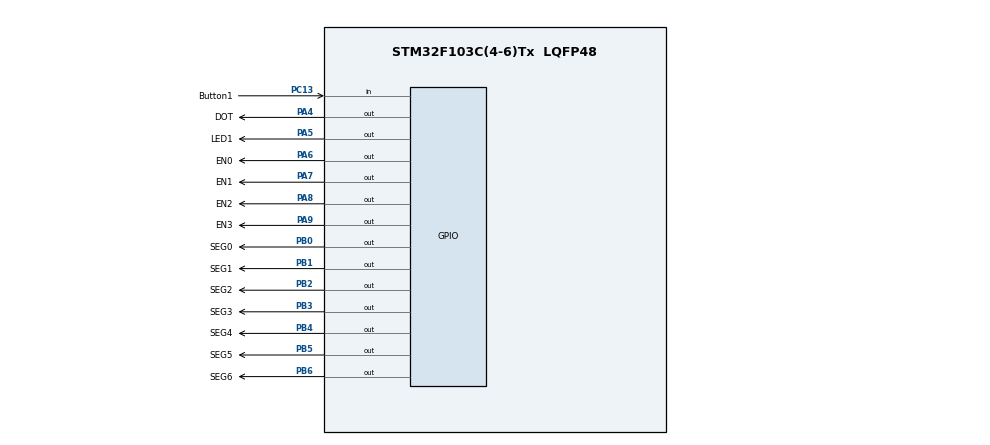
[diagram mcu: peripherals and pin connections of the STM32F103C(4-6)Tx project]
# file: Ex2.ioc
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Mcu.Family=STM32F1
Mcu.Name=STM32F103C(4-6)Tx
Mcu.Package=LQFP48
NVIC.PriorityGroup=NVIC_PRIORITYGROUP_4
NVIC.TIM2_IRQn=true\:0\:0\:false\:false\:true\:true\:true\:true
PA4.GPIO_Label=DOT
PA4.Signal=GPIO_Output
PA5.GPIO_Label=LED1
PA5.Signal=GPIO_Output
PA6.GPIO_Label=EN0
PA6.Signal=GPIO_Output
PA7.GPIO_Label=EN1
PA7.Signal=GPIO_Output
PA8.GPIO_Label=EN2
PA8.Signal=GPIO_Output
PA9.GPIO_Label=EN3
PA9.Signal=GPIO_Output
PB0.GPIO_Label=SEG0
PB0.Signal=GPIO_Output
PB1.GPIO_Label=SEG1
PB1.Signal=GPIO_Output
PB2.GPIO_Label=SEG2
PB2.Signal=GPIO_Output
PB3.GPIO_Label=SEG3
PB3.Signal=GPIO_Output
PB4.GPIO_Label=SEG4
PB4.Signal=GPIO_Output
PB5.GPIO_Label=SEG5
PB5.Signal=GPIO_Output
PB6.GPIO_Label=SEG6
PB6.Signal=GPIO_Output
PC13-TAMPER-RTC.GPIO_Label=Button1
PC13-TAMPER-RTC.GPIO_PuPd=GPIO_PULLUP
PC13-TAMPER-RTC.Signal=GPIO_Input
ProjectManager.HeapSize=0x200
ProjectManager.StackSize=0x400
ProjectManager.TargetToolchain=STM32CubeIDE
RCC.APB1Freq_Value=8000000
RCC.APB2Freq_Value=8000000
TIM2.Period=9
TIM2.Prescaler=7999
VP_TIM2_VS_ClockSourceINT.Mode=Internal
board=custom

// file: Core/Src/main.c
/* USER CODE BEGIN Header */
/**
  ******************************************************************************
  * @file           : main.c
  * @brief          : Main program body
  ******************************************************************************
  * @attention
  *
  * Copyright (c) 2022 STMicroelectronics.
  * All rights reserved.
  *
  * This software is licensed under terms that can be found in the LICENSE file
  * in the root directory of this software component.
  * If no LICENSE file comes with this software, it is provided AS-IS.
  *
  ******************************************************************************
  */
/* USER CODE END Header */
#include "main.h"

/* USER CODE BEGIN Includes */
#include "Software_Timer.h"

/* USER CODE END Includes */

TIM_HandleTypeDef htim2;

void SystemClock_Config(void);
static void MX_GPIO_Init(void);
static void MX_TIM2_Init(void);

/* USER CODE BEGIN 0 */
void display7SEG(int num){

	switch(num) {
	  case 0:
	    	HAL_GPIO_WritePin(SEG0_GPIO_Port, SEG0_Pin, RESET);
	    	HAL_GPIO_WritePin(SEG1_GPIO_Port, SEG1_Pin, RESET);
	    	HAL_GPIO_WritePin(SEG2_GPIO_Port, SEG2_Pin, RESET);
	    	HAL_GPIO_WritePin(SEG3_GPIO_Port, SEG3_Pin, RESET);
	    	HAL_GPIO_WritePin(SEG4_GPIO_Port, SEG4_Pin, RESET);
	    	HAL_GPIO_WritePin(SEG5_GPIO_Port, SEG5_Pin, RESET);
	    	HAL_GPIO_WritePin(SEG6_GPIO_Port, SEG6_Pin, SET);
		  	break;
	  case 1:
		    HAL_GPIO_WritePin(SEG0_GPIO_Port, SEG0_Pin, SET);
	    	HAL_GPIO_WritePin(SEG1_GPIO_Port, SEG1_Pin, RESET);
		   	HAL_GPIO_WritePin(SEG2_GPIO_Port, SEG2_Pin, RESET);
		  	HAL_GPIO_WritePin(SEG3_GPIO_Port, SEG3_Pin, SET);
		  	HAL_GPIO_WritePin(SEG4_GPIO_Port, SEG4_Pin, SET);
		   	HAL_GPIO_WritePin(SEG5_GPIO_Port, SEG5_Pin, SET);
		   	HAL_GPIO_WritePin(SEG6_GPIO_Port, SEG6_Pin, SET);
		  	break;
	  case 2:
		    HAL_GPIO_WritePin(SEG0_GPIO_Port, SEG0_Pin, RESET);
		    HAL_GPIO_WritePin(SEG1_GPIO_Port, SEG1_Pin, RESET);
		    HAL_GPIO_WritePin(SEG2_GPIO_Port, SEG2_Pin, SET);
		    HAL_GPIO_WritePin(SEG3_GPIO_Port, SEG3_Pin, RESET);
		    HAL_GPIO_WritePin(SEG4_GPIO_Port, SEG4_Pin, RESET);
		    HAL_GPIO_WritePin(SEG5_GPIO_Port, SEG5_Pin, SET);
		    HAL_GPIO_WritePin(SEG6_GPIO_Port, SEG6_Pin, RESET);
		   	break;
	  case 3:
		  	HAL_GPIO_WritePin(SEG0_GPIO_Port, SEG0_Pin, RESET);
		    HAL_GPIO_WritePin(SEG1_GPIO_Port, SEG1_Pin, RESET);
		    HAL_GPIO_WritePin(SEG2_GPIO_Port, SEG2_Pin, RESET);
		    HAL_GPIO_WritePin(SEG3_GPIO_Port, SEG3_Pin, RESET);
		    HAL_GPIO_WritePin(SEG4_GPIO_Port, SEG4_Pin, SET);
		    HAL_GPIO_WritePin(SEG5_GPIO_Port, SEG5_Pin, SET);
		  	HAL_GPIO_WritePin(SEG6_GPIO_Port, SEG6_Pin, RESET);
		  	break;
	  case 4:
		  	HAL_GPIO_WritePin(SEG0_GPIO_Port, SEG0_Pin, SET);
		    HAL_GPIO_WritePin(SEG1_GPIO_Port, SEG1_Pin, RESET);
		    HAL_GPIO_WritePin(SEG2_GPIO_Port, SEG2_Pin, RESET);
		    HAL_GPIO_WritePin(SEG3_GPIO_Port, SEG3_Pin, SET);
		    HAL_GPIO_WritePin(SEG4_GPIO_Port, SEG4_Pin, SET);
		    HAL_GPIO_WritePin(SEG5_GPIO_Port, SEG5_Pin, RESET);
		    HAL_GPIO_WritePin(SEG6_GPIO_Port, SEG6_Pin, RESET);
		    break;
	  case 5:
		    HAL_GPIO_WritePin(SEG0_GPIO_Port, SEG0_Pin, RESET);
		    HAL_GPIO_WritePin(SEG1_GPIO_Port, SEG1_Pin, SET);
		    HAL_GPIO_WritePin(SEG2_GPIO_Port, SEG2_Pin, RESET);
		    HAL_GPIO_WritePin(SEG3_GPIO_Port, SEG3_Pin, RESET);
		    HAL_GPIO_WritePin(SEG4_GPIO_Port, SEG4_Pin, SET);
		    HAL_GPIO_WritePin(SEG5_GPIO_Port, SEG5_Pin, RESET);
		    HAL_GPIO_WritePin(SEG6_GPIO_Port, SEG6_Pin, RESET);
	  	    break;
	  case 6:
		  	HAL_GPIO_WritePin(SEG0_GPIO_Port, SEG0_Pin, RESET);
		    HAL_GPIO_WritePin(SEG1_GPIO_Port, SEG1_Pin, SET);
		    HAL_GPIO_WritePin(SEG2_GPIO_Port, SEG2_Pin, RESET);
		    HAL_GPIO_WritePin(SEG3_GPIO_Port, SEG3_Pin, RESET);
		    HAL_GPIO_WritePin(SEG4_GPIO_Port, SEG4_Pin, RESET);
		    HAL_GPIO_WritePin(SEG5_GPIO_Port, SEG5_Pin, RESET);
		    HAL_GPIO_WritePin(SEG6_GPIO_Port, SEG6_Pin, RESET);
		    break;
	  case 7:
	  		HAL_GPIO_WritePin(SEG0_GPIO_Port, SEG0_Pin, RESET);
	  		HAL_GPIO_WritePin(SEG1_GPIO_Port, SEG1_Pin, RESET);
	  	    HAL_GPIO_WritePin(SEG2_GPIO_Port, SEG2_Pin, RESET);
	  	    HAL_GPIO_WritePin(SEG3_GPIO_Port, SEG3_Pin, SET);
		    HAL_GPIO_WritePin(SEG4_GPIO_Port, SEG4_Pin, SET);
 		    HAL_GPIO_WritePin(SEG5_GPIO_Port, SEG5_Pin, SET);
		    HAL_GPIO_WritePin(SEG6_GPIO_Port, SEG6_Pin, SET);
	  		break;
	  case 8:
	    	HAL_GPIO_WritePin(SEG0_GPIO_Port, SEG0_Pin, RESET);
		    HAL_GPIO_WritePin(SEG1_GPIO_Port, SEG1_Pin, RESET);
		    HAL_GPIO_WritePin(SEG2_GPIO_Port, SEG2_Pin, RESET);
		    HAL_GPIO_WritePin(SEG3_GPIO_Port, SEG3_Pin, RESET);
	        HAL_GPIO_WritePin(SEG4_GPIO_Port, SEG4_Pin, RESET);
	  	    HAL_GPIO_WritePin(SEG5_GPIO_Port, SEG5_Pin, RESET);
		    HAL_GPIO_WritePin(SEG6_GPIO_Port, SEG6_Pin, RESET);
		    break;
	  case 9:
	  		HAL_GPIO_WritePin(SEG0_GPIO_Port, SEG0_Pin, RESET);
	  		HAL_GPIO_WritePin(SEG1_GPIO_Port, SEG1_Pin, RESET);
	  		HAL_GPIO_WritePin(SEG2_GPIO_Port, SEG2_Pin, RESET);
	  	    HAL_GPIO_WritePin(SEG3_GPIO_Port, SEG3_Pin, RESET);
	  	    HAL_GPIO_WritePin(SEG4_GPIO_Port, SEG4_Pin, SET);
		    HAL_GPIO_WritePin(SEG5_GPIO_Port, SEG5_Pin, RESET);
	  		HAL_GPIO_WritePin(SEG6_GPIO_Port, SEG6_Pin, RESET);
	  	    break;
	  default:
		  	break;
	}

}
/* USER CODE END 0 */

int main(void)
{

  /* MCU Configuration--------------------------------------------------------*/

  /* Reset of all peripherals, Initializes the Flash interface and the Systick. */
  HAL_Init();

  /* Configure the system clock */
  SystemClock_Config();

  /* Initialize all configured peripherals */
  MX_GPIO_Init();
  MX_TIM2_Init();
  /* USER CODE BEGIN 2 */
  HAL_TIM_Base_Start_IT(&htim2);

  HAL_GPIO_WritePin(EN0_GPIO_Port, EN0_Pin, SET);
  HAL_GPIO_WritePin(EN1_GPIO_Port, EN1_Pin, SET);
  HAL_GPIO_WritePin(EN2_GPIO_Port, EN2_Pin, SET);
  HAL_GPIO_WritePin(EN3_GPIO_Port, EN3_Pin, SET);
  HAL_GPIO_WritePin(DOT_GPIO_Port, DOT_Pin, SET);

  /* USER CODE END 2 */

  /* Infinite loop */
  while (1)
  {

  }
}

void SystemClock_Config(void)
{
  RCC_OscInitTypeDef RCC_OscInitStruct = {0};
  RCC_ClkInitTypeDef RCC_ClkInitStruct = {0};

  /** Initializes the RCC Oscillators according to the specified parameters
  * in the RCC_OscInitTypeDef structure.
  */
  RCC_OscInitStruct.OscillatorType = RCC_OSCILLATORTYPE_HSI;
  RCC_OscInitStruct.HSIState = RCC_HSI_ON;
  RCC_OscInitStruct.HSICalibrationValue = RCC_HSICALIBRATION_DEFAULT;
  RCC_OscInitStruct.PLL.PLLState = RCC_PLL_NONE;
  if (HAL_RCC_OscConfig(&RCC_OscInitStruct) != HAL_OK)
  {
    Error_Handler();
  }

  /** Initializes the CPU, AHB and APB buses clocks
  */
  RCC_ClkInitStruct.ClockType = RCC_CLOCKTYPE_HCLK|RCC_CLOCKTYPE_SYSCLK
                              |RCC_CLOCKTYPE_PCLK1|RCC_CLOCKTYPE_PCLK2;
  RCC_ClkInitStruct.SYSCLKSource = RCC_SYSCLKSOURCE_HSI;
  RCC_ClkInitStruct.AHBCLKDivider = RCC_SYSCLK_DIV1;
  RCC_ClkInitStruct.APB1CLKDivider = RCC_HCLK_DIV1;
  RCC_ClkInitStruct.APB2CLKDivider = RCC_HCLK_DIV1;

  if (HAL_RCC_ClockConfig(&RCC_ClkInitStruct, FLASH_LATENCY_0) != HAL_OK)
  {
    Error_Handler();
  }
}

static void MX_TIM2_Init(void)
{

  TIM_ClockConfigTypeDef sClockSourceConfig = {0};
  TIM_MasterConfigTypeDef sMasterConfig = {0};

  htim2.Instance = TIM2;
  htim2.Init.Prescaler = 7999;
  htim2.Init.CounterMode = TIM_COUNTERMODE_UP;
  htim2.Init.Period = 9;
  htim2.Init.ClockDivision = TIM_CLOCKDIVISION_DIV1;
  htim2.Init.AutoReloadPreload = TIM_AUTORELOAD_PRELOAD_DISABLE;
  if (HAL_TIM_Base_Init(&htim2) != HAL_OK)
  {
    Error_Handler();
  }
  sClockSourceConfig.ClockSource = TIM_CLOCKSOURCE_INTERNAL;
  if (HAL_TIM_ConfigClockSource(&htim2, &sClockSourceConfig) != HAL_OK)
  {
    Error_Handler();
  }
  sMasterConfig.MasterOutputTrigger = TIM_TRGO_RESET;
  sMasterConfig.MasterSlaveMode = TIM_MASTERSLAVEMODE_DISABLE;
  if (HAL_TIMEx_MasterConfigSynchronization(&htim2, &sMasterConfig) != HAL_OK)
  {
    Error_Handler();
  }

}

static void MX_GPIO_Init(void)
{
  GPIO_InitTypeDef GPIO_InitStruct = {0};

  /* GPIO Ports Clock Enable */
  __HAL_RCC_GPIOC_CLK_ENABLE();
  __HAL_RCC_GPIOA_CLK_ENABLE();
  __HAL_RCC_GPIOB_CLK_ENABLE();

  /*Configure GPIO pin Output Level */
  HAL_GPIO_WritePin(GPIOA, DOT_Pin|LED1_Pin|EN0_Pin|EN1_Pin
                          |EN2_Pin|EN3_Pin, GPIO_PIN_RESET);

  /*Configure GPIO pin Output Level */
  HAL_GPIO_WritePin(GPIOB, SEG0_Pin|SEG1_Pin|SEG2_Pin|SEG3_Pin
                          |SEG4_Pin|SEG5_Pin|SEG6_Pin, GPIO_PIN_RESET);

  /*Configure GPIO pin : Button1_Pin */
  GPIO_InitStruct.Pin = Button1_Pin;
  GPIO_InitStruct.Mode = GPIO_MODE_INPUT;
  GPIO_InitStruct.Pull = GPIO_PULLUP;
  HAL_GPIO_Init(Button1_GPIO_Port, &GPIO_InitStruct);

  /*Configure GPIO pins : DOT_Pin LED1_Pin EN0_Pin EN1_Pin
                           EN2_Pin EN3_Pin */
  GPIO_InitStruct.Pin = DOT_Pin|LED1_Pin|EN0_Pin|EN1_Pin
                          |EN2_Pin|EN3_Pin;
  GPIO_InitStruct.Mode = GPIO_MODE_OUTPUT_PP;
  GPIO_InitStruct.Pull = GPIO_NOPULL;
  GPIO_InitStruct.Speed = GPIO_SPEED_FREQ_LOW;
  HAL_GPIO_Init(GPIOA, &GPIO_InitStruct);

  /*Configure GPIO pins : SEG0_Pin SEG1_Pin SEG2_Pin SEG3_Pin
                           SEG4_Pin SEG5_Pin SEG6_Pin */
  GPIO_InitStruct.Pin = SEG0_Pin|SEG1_Pin|SEG2_Pin|SEG3_Pin
                          |SEG4_Pin|SEG5_Pin|SEG6_Pin;
  GPIO_InitStruct.Mode = GPIO_MODE_OUTPUT_PP;
  GPIO_InitStruct.Pull = GPIO_NOPULL;
  GPIO_InitStruct.Speed = GPIO_SPEED_FREQ_LOW;
  HAL_GPIO_Init(GPIOB, &GPIO_InitStruct);

}

/* USER CODE BEGIN 4 */
int counter = 50;		//thiet lap he so
int state = 1;

void HAL_TIM_PeriodElapsedCallback(TIM_HandleTypeDef *htim){

	if (counter ==  1){
			//BEGIN-TODO

		if (state == 1){
				HAL_GPIO_WritePin(EN1_GPIO_Port, EN1_Pin, SET);
				HAL_GPIO_WritePin(EN2_GPIO_Port, EN2_Pin, SET);
				HAL_GPIO_WritePin(EN3_GPIO_Port, EN3_Pin, SET);

				display7SEG(1);
				HAL_GPIO_WritePin(EN0_GPIO_Port, EN0_Pin, RESET);

				state = 2;
		}
		else if (state == 2){
				HAL_GPIO_WritePin(EN0_GPIO_Port, EN0_Pin, SET);
				HAL_GPIO_WritePin(EN2_GPIO_Port, EN2_Pin, SET);
				HAL_GPIO_WritePin(EN3_GPIO_Port, EN3_Pin, SET);

				display7SEG(2);
				HAL_GPIO_WritePin(EN1_GPIO_Port, EN1_Pin, RESET);
				HAL_GPIO_WritePin(DOT_GPIO_Port, DOT_Pin, RESET);

				state = 3;
		}
		else if (state == 3){
				HAL_GPIO_WritePin(EN0_GPIO_Port, EN0_Pin, SET);
				HAL_GPIO_WritePin(EN1_GPIO_Port, EN1_Pin, SET);
				HAL_GPIO_WritePin(EN3_GPIO_Port, EN3_Pin, SET);

				display7SEG(3);
				HAL_GPIO_WritePin(EN2_GPIO_Port, EN2_Pin, RESET);

				state = 0;
		}
		else {
				HAL_GPIO_WritePin(EN0_GPIO_Port, EN0_Pin, SET);
				HAL_GPIO_WritePin(EN1_GPIO_Port, EN1_Pin, SET);
				HAL_GPIO_WritePin(EN2_GPIO_Port, EN2_Pin, SET);

				display7SEG(0);
				HAL_GPIO_WritePin(EN3_GPIO_Port, EN3_Pin, RESET);
				HAL_GPIO_WritePin(DOT_GPIO_Port, DOT_Pin, SET);

				state = 1;
		}

			//END-TODO
		counter = 50;				// * thay doi he so *
	}
	else counter--;
}
/* USER CODE END 4 */

void Error_Handler(void)
{
  __disable_irq();
  while (1)
  {
  }
}
